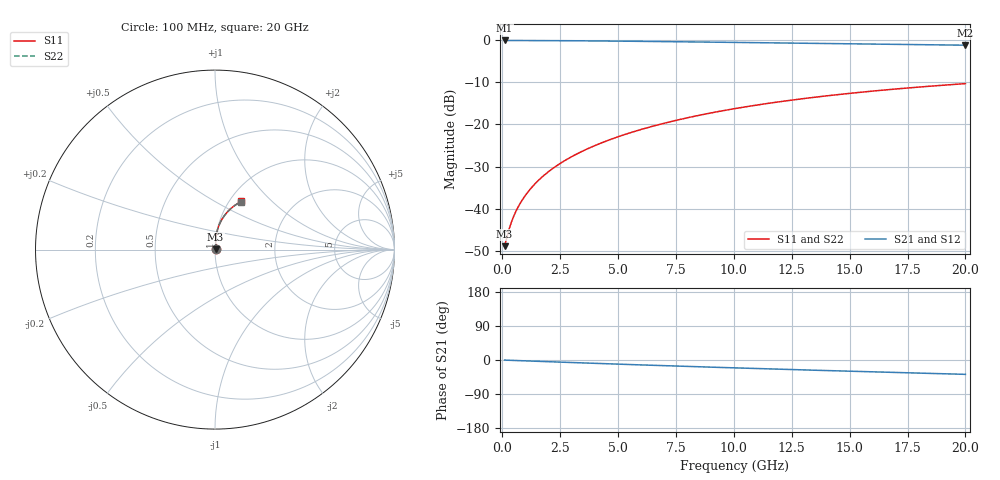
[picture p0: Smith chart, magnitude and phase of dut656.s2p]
! Touchstone file exported from HFSS 2024.1.0
!  File:  C:/UserFiles/LocalFiles/RDL_TSV_Batchsim/temp_RDL_top_656_1779781554.aedt
!  Generated:  03:48:02 PM May 26, 2026
!  Design:  RDL_top
!  Project:  temp_RDL_top_656_1779781554
!  Setup:  Setup1
!  Solution:  Sweep
! Variables:
!  dtsv = 10.80580581um
!  hbump = 3um
!  htsv = 96.51um
!  ldown = 100um
!  lrdl = 562.7um
!  p = 40
!  p1 = 43.67um
!  rhole = 1um
!  t = 450um
!  tdown = 3.915915916um
!  trdl = 2.89um
!  wdown = 15.38538539um
!  wrdl = 23.38um
# GHz S MA R 50.000000
! Terminal data exported
! Port[1] = Box2_T1
! Port[2] = Box2_T2
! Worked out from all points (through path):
!   200 points, 100 MHz to 20 GHz, reference 50 ohm
!   highest |S21| = -0.03 dB at 100 MHz (marker M1); lowest = -1.2 dB at 20 GHz (marker M2)
!   group delay of S21, straight-line fit = 5.21 ps
!   lowest |S11| = -48.9 dB at 100 MHz (marker M3), VSWR 1.01, Z = 50.3 + j0.16 ohm
!   |S11| at or under -10 dB: start of sweep to end of sweep
!   |S22| runs from -48.9 to -10.3 dB; largest |S21 - S12| = 3.1e-15
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0.1  0.003577 26.4  0.9968 -0.2  0.9968 -0.2  0.003577 26.4
! Gamma 0 0 0 0
! Port Impedance 50 0 50 0
0.3  0.005762 52.3  0.9964 -0.7  0.9964 -0.7  0.005762 52.3
0.4  0.006982 58.1  0.9962 -0.9  0.9962 -0.9  0.006982 58.1
0.5  0.008204 62.3  0.996 -1.2  0.996 -1.2  0.008204 62.2
0.6  0.009427 65.4  0.9958 -1.4  0.9958 -1.4  0.009427 65.4
0.8  0.01189 70.1  0.9954 -1.8  0.9954 -1.8  0.01189 70.0
1  0.0144 73.3  0.995 -2.3  0.995 -2.3  0.0144 73.3
1.2  0.01695 75.8  0.9946 -2.7  0.9946 -2.7  0.01695 75.7
1.7  0.02351 79.7  0.9935 -3.8  0.9935 -3.8  0.02351 79.7
2.2  0.03028 81.9  0.992 -4.9  0.992 -4.9  0.03027 81.9
2.8  0.03864 83.5  0.9899 -6.3  0.9899 -6.3  0.03863 83.5
3.5  0.04872 84.6  0.9868 -7.8  0.9868 -7.8  0.04871 84.5
4.2  0.05915 85.0  0.9833 -9.3  0.9833 -9.3  0.05913 84.9
5  0.07145 85.0  0.9789 -10.9  0.9789 -10.9  0.07142 84.9
5.9  0.08572 84.5  0.9734 -12.8  0.9734 -12.8  0.08567 84.4
6.8  0.1003 83.7  0.9675 -14.6  0.9675 -14.6  0.1003 83.6
8.4  0.1269 81.6  0.9566 -17.7  0.9566 -17.7  0.1268 81.6
10.1  0.1553 78.9  0.9447 -20.9  0.9447 -20.9  0.1552 78.9
11.7  0.1818 76.2  0.9333 -23.8  0.9333 -23.8  0.1816 76.1
13.4  0.2093 73.1  0.9213 -26.8  0.9213 -26.8  0.2091 73.0
16.7  0.2598 67.1  0.8982 -32.4  0.8982 -32.4  0.2595 67.1
20  0.3057 61.3  0.8755 -37.8  0.8755 -37.8  0.3054 61.2
